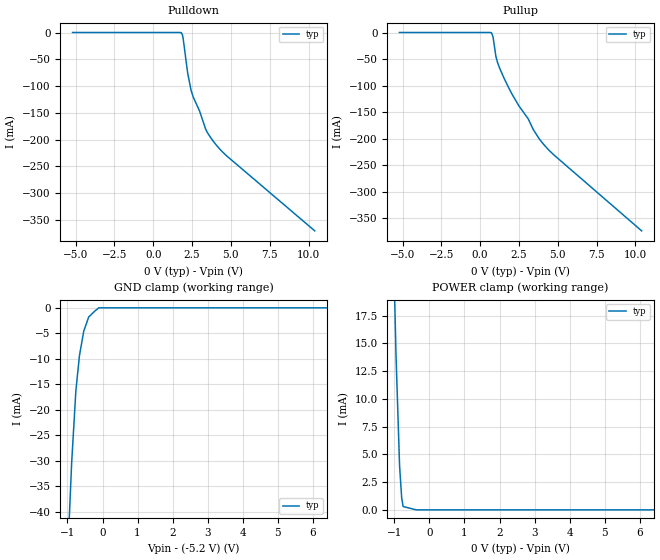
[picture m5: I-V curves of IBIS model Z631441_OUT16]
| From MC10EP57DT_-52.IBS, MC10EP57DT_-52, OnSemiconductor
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| (C) COPYRIGHT 1993-2000
| MENTOR GRAPHICS CORPORATION
| ICX STANDARD LIBRARY, ICX PROJECT MODELING,
| ICX CUSTOM MODELING, ICX VENDOR MODEL
| ALL RIGHTS RESERVED.
| THE FOLLOWING ARE TRADEMARKS OR SERVICE MARKS OF
| MENTOR GRAPHICS CORPORATION:ICX (R), ICX STANDARD
| LIBRARY(R), ICX PROJECT MODELING(R), ICX CUSTOM
| MODELING(R), qualityIBIS(TM), MODELVIEWER(TM),
| AND MODELEDITOR(TM)
| ALL COPIES OF SOFTWARE, INCLUDING BUT NOT LIMITED TO
| ANY MODIFICATIONS, ENHANCEMENTS OR DERIVATIVE WORKS,
| MUST CONTAIN ALL MENTOR GRAPHICS CORPORATION'S
| NOTICES AND LEGENDS, INCLUDING THOSE EMBEDDED IN
| SOFTWARE AND THOSE AFFIXED TO SOFTWARE MEDIUM
| AND CONTAINER, AS RECEIVED FROM MENTOR GRAPHICS
| CORPORATION.
| Model Application Version 1.89 2/18/99.
[Model] Z631441_OUT16
Model_type Output_ECL
Vref=-2.000V
Rref=50.00ohms
Cref=0.000F
Vmeas=-1.345V
C_comp 1.000pF NA NA
| variable typ   min   max
[Voltage Range] -5.200V NA NA
[POWER Clamp Reference] 0.000V NA NA
[Pullup Reference] 0.000V NA NA
[Pulldown Reference] 0.000V NA NA
[GND Clamp Reference] -5.200V NA NA
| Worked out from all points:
|   GND clamp passes 1 mA (typ) near -0.27 V on its own axis
|   POWER clamp passes 1 mA (typ) near -0.79 V on its own axis
[GND Clamp]
-5.2V     -724mA     NA         NA
-881mV    -30.48mA   NA         NA
-760mV    -16.27mA   NA         NA
-658mV    -9.384mA   NA         NA
-536mV    -4.595mA   NA         NA
-394mV    -1.799mA   NA         NA
-212mV    -590.3uA   NA         NA
-106mV    0A         NA         NA
10.4V     0A         NA         NA
[Pulldown]
-5.2V     0A         NA         NA
1.804V    -400uA     NA         NA
1.885V    -5mA       NA         NA
1.926V    -11.7mA    NA         NA
2.209V    -74.8mA    NA         NA
2.432V    -107.9mA   NA         NA
2.574V    -120.7mA   NA         NA
2.98V     -146.6mA   NA         NA
3.365V    -179.9mA   NA         NA
3.669V    -195.2mA   NA         NA
4.743V    -230.8mA   NA         NA
10.4V     -370.4mA   NA         NA
[Pullup]
-5.2V     0A         NA         NA
730mV     -500uA     NA         NA
831mV     -8.7mA     NA         NA
1.013V    -45mA      NA         NA
1.115V    -56.2mA    NA         NA
1.52V     -85mA      NA         NA
2.067V    -117mA     NA         NA
3.101V    -163mA     NA         NA
3.405V    -182.1mA   NA         NA
3.79V     -199.8mA   NA         NA
4.763V    -231.1mA   NA         NA
10.4V     -373.8mA   NA         NA
[POWER Clamp]
-5.2V     737.3mA    NA         NA
-1.034V   25mA       NA         NA
-953mV    14mA       NA         NA
-851mV    4mA        NA         NA
-791mV    1.1mA      NA         NA
-750mV    300uA      NA         NA
-375mV    0A         NA         NA
10.4V     0A         NA         NA
[Ramp]
| variable typ min max
dV/dt_r 571.2m/108.6p NA NA
dV/dt_f 571.2m/128.5p NA NA
R_load = 50.00Ohms
